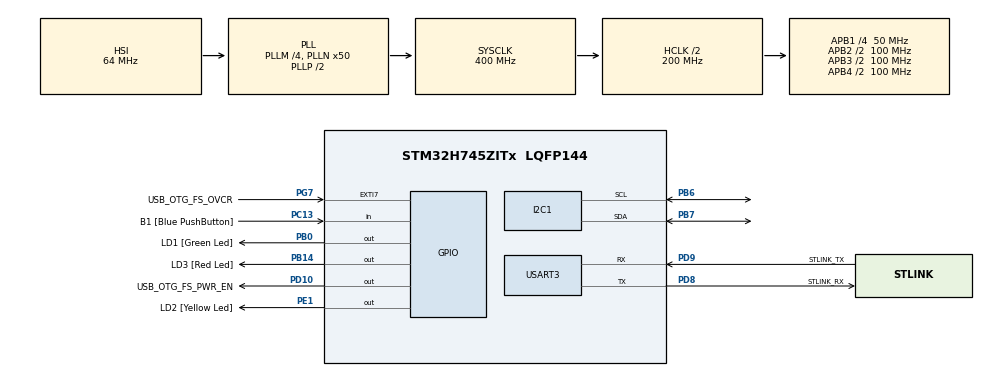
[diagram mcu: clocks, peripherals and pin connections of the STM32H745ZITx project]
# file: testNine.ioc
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CortexM4.IPs=FATFS_M4\:I,FREERTOS_M4\:I,IWDG2\:I,RCC,WWDG2\:I,DMA,BDMA,MDMA,NVIC2\:I,ETH,DEBUG,PDM2PCM_M4\:I,PWR,RESMGR_UTILITY,SYS_M4\:I,USB_DEVICE_M4\:I,USB_HOST_M4\:I,CORTEX_M4\:I,OPENAMP_M4\:I,VREFBUF
CortexM7.IPs=FATFS_M7\:I,FREERTOS_M7\:I,IWDG1\:I,RCC\:I,WWDG1\:I,DMA\:I,BDMA\:I,MDMA\:I,NVIC1\:I,SYS\:I,USART3\:I,USB_OTG_FS\:I,ETH\:I,CORTEX_M7\:I,DEBUG\:I,PDM2PCM_M7\:I,PWR\:I,RESMGR_UTILITY\:I,USB_DEVICE_M7\:I,USB_HOST_M7\:I,OPENAMP_M7\:I,VREFBUF\:I,I2C1\:I,TIM3\:I
I2C1.Timing=0x00C0EAFF
Mcu.Family=STM32H7
Mcu.Name=STM32H745ZITx
Mcu.Package=LQFP144
NVIC1.PriorityGroup=NVIC_PRIORITYGROUP_4
NVIC1.TIM3_IRQn=true\:0\:0\:false\:false\:true\:true\:true
NVIC2.PriorityGroup=NVIC_PRIORITYGROUP_4
PA1.PinAttribute=CortexM7
PA1.Signal=ETH_REF_CLK
PA11.PinAttribute=CortexM7
PA11.Signal=USB_OTG_FS_DM
PA12.PinAttribute=CortexM7
PA12.Signal=USB_OTG_FS_DP
PA2.PinAttribute=CortexM7
PA2.Signal=ETH_MDIO
PA7.PinAttribute=CortexM7
PA7.Signal=ETH_CRS_DV
PA8.PinAttribute=CortexM7
PA8.Signal=USB_OTG_FS_SOF
PA9.PinAttribute=CortexM7
PA9.Signal=USB_OTG_FS_VBUS
PB0.GPIO_Label=LD1 [Green Led]
PB0.PinAttribute=Free
PB0.Signal=GPIO_Output
PB13.PinAttribute=CortexM7
PB13.Signal=ETH_TXD1
PB14.GPIO_Label=LD3 [Red Led]
PB14.PinAttribute=Free
PB14.Signal=GPIO_Output
PB6.GPIO_PuPd=GPIO_PULLUP
PB6.GPIO_Speed=GPIO_SPEED_FREQ_HIGH
PB6.Mode=I2C
PB6.PinAttribute=CortexM7
PB6.Signal=I2C1_SCL
PB7.GPIO_PuPd=GPIO_PULLUP
PB7.GPIO_Speed=GPIO_SPEED_FREQ_HIGH
PB7.Mode=I2C
PB7.PinAttribute=CortexM7
PB7.Signal=I2C1_SDA
PC1.PinAttribute=CortexM7
PC1.Signal=ETH_MDC
PC13.GPIO_Label=B1 [Blue PushButton]
PC13.PinAttribute=Free
PC13.Signal=GPIO_Input
PC14-OSC32_IN\ (OSC32_IN).PinAttribute=CortexM7
PC14-OSC32_IN\ (OSC32_IN).Signal=RCC_OSC32_IN
PC15-OSC32_OUT\ (OSC32_OUT).PinAttribute=CortexM7
PC15-OSC32_OUT\ (OSC32_OUT).Signal=RCC_OSC32_OUT
PC4.PinAttribute=CortexM7
PC4.Signal=ETH_RXD0
PC5.PinAttribute=CortexM7
PC5.Signal=ETH_RXD1
PD10.GPIO_Label=USB_OTG_FS_PWR_EN
PD10.PinAttribute=Free
PD10.Signal=GPIO_Output
PD8.GPIO_Label=STLINK_RX
PD8.Mode=Asynchronous
PD8.PinAttribute=CortexM7
PD8.Signal=USART3_TX
PD9.GPIO_Label=STLINK_TX
PD9.Mode=Asynchronous
PD9.PinAttribute=CortexM7
PD9.Signal=USART3_RX
PE1.GPIO_Label=LD2 [Yellow Led]
PE1.PinAttribute=Free
PE1.Signal=GPIO_Output
PG11.PinAttribute=CortexM7
PG11.Signal=ETH_TX_EN
PG13.PinAttribute=CortexM7
PG13.Signal=ETH_TXD0
PG7.GPIO_Label=USB_OTG_FS_OVCR
PG7.PinAttribute=Free
PG7.Signal=GPXTI7
PH0-OSC_IN\ (PH0).PinAttribute=CortexM7
PH0-OSC_IN\ (PH0).Signal=RCC_OSC_IN
PH1-OSC_OUT\ (PH1).PinAttribute=CortexM7
PH1-OSC_OUT\ (PH1).Signal=RCC_OSC_OUT
ProjectManager.HeapSize=0x200
ProjectManager.StackSize=0x400
ProjectManager.TargetToolchain=STM32CubeIDE
RCC.ADCFreq_Value=129000000
RCC.APB1Freq_Value=50000000
RCC.APB2Freq_Value=100000000
RCC.APB3Freq_Value=100000000
RCC.APB4Freq_Value=100000000
RCC.CortexFreq_Value=400000000
RCC.D1PPRE=RCC_APB3_DIV2
RCC.D2PPRE1=RCC_APB1_DIV4
RCC.D2PPRE2=RCC_APB2_DIV2
RCC.D3PPRE=RCC_APB4_DIV2
RCC.DIVM1=4
RCC.DIVM3=22
RCC.DIVN1=50
RCC.DIVN3=169
RCC.DIVQ3=4
RCC.HCLKFreq_Value=200000000
RCC.HPRE=RCC_HCLK_DIV2
RCC.PLLFRACN=0
RCC.SYSCLKFreq_VALUE=400000000
RCC.SYSCLKSource=RCC_SYSCLKSOURCE_PLLCLK
RCC.SupplySource=PWR_DIRECT_SMPS_SUPPLY
RCC.USBCLockSelection=RCC_USBCLKSOURCE_PLL3
RCC.USBFreq_Value=122909090.9090909
TIM3.Period=1000-1
TIM3.Prescaler=100-1
USART3.VirtualMode-Asynchronous=VM_ASYNC
VP_SYS_M4_VS_Systick.Mode=SysTick
VP_TIM3_VS_ClockSourceINT.Mode=Internal
board=NUCLEO-H745ZI-Q

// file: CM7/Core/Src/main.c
/* USER CODE BEGIN Header */
/**
 ******************************************************************************
 * @file           : main.c
 * @brief          : Main program body
 ******************************************************************************
 * @attention
 *
 * <h2><center>&copy; Copyright (c) 2021 STMicroelectronics.
 * All rights reserved.</center></h2>
 *
 * This software component is licensed by ST under BSD 3-Clause license,
 * the "License"; You may not use this file except in compliance with the
 * License. You may obtain a copy of the License at:
 *                        opensource.org/licenses/BSD-3-Clause
 *
 ******************************************************************************
 */
/* USER CODE END Header */
#include "main.h"
#include <MPU_9255.h>
#include <math.h>

/* USER CODE BEGIN PD */

#ifndef HSEM_ID_0
#define HSEM_ID_0 (0U) /* HW semaphore 0*/
#endif
/* USER CODE END PD */

I2C_HandleTypeDef hi2c1;

TIM_HandleTypeDef htim3;

UART_HandleTypeDef huart3;

/* USER CODE BEGIN PV */
char speech_c[128];
int speech_len;

/* USER CODE END PV */

void SystemClock_Config(void);
static void MX_GPIO_Init(void);
static void MX_I2C1_Init(void);
static void MX_TIM3_Init(void);
static void MX_USART3_UART_Init(void);

/* USER CODE BEGIN 0 */
void MPU_9255_delay(uint32_t ms)
{
    HAL_Delay(ms);
}
uint8_t nmpu1_i2c_read(uint16_t DevAddress, uint8_t *pData, uint16_t size)
{
    return HAL_I2C_Master_Receive(&hi2c1, DevAddress, pData, size, 100);
}
uint8_t nmpu1_i2c_write(uint16_t DevAddress, uint8_t *pData, uint16_t size)
{
    return HAL_I2C_Master_Transmit(&hi2c1, DevAddress, pData, size, 100);
}

/* USER CODE END 0 */

int main(void)
{
    /* USER CODE BEGIN Boot_Mode_Sequence_0 */
    int32_t timeout;
    /* USER CODE END Boot_Mode_Sequence_0 */

    /* USER CODE BEGIN Boot_Mode_Sequence_1 */
    /* Wait until CPU2 boots and enters in stop mode or timeout*/
    timeout = 0xFFFF;
    while ((__HAL_RCC_GET_FLAG(RCC_FLAG_D2CKRDY) != RESET) && (timeout-- > 0))
        ;
    if (timeout < 0) {
        Error_Handler();
    }
    /* USER CODE END Boot_Mode_Sequence_1 */
    /* MCU Configuration--------------------------------------------------------*/

    /* Reset of all peripherals, Initializes the Flash interface and the Systick. */
    HAL_Init();

    /* Configure the system clock */
    SystemClock_Config();
    /* USER CODE BEGIN Boot_Mode_Sequence_2 */
    /* When system initialization is finished, Cortex-M7 will release Cortex-M4 by means of
    HSEM notification */
    /*HW semaphore Clock enable*/
    __HAL_RCC_HSEM_CLK_ENABLE();
    /*Take HSEM */
    HAL_HSEM_FastTake(HSEM_ID_0);
    /*Release HSEM in order to notify the CPU2(CM4)*/
    HAL_HSEM_Release(HSEM_ID_0, 0);
    /* wait until CPU2 wakes up from stop mode */
    timeout = 0xFFFF;
    while ((__HAL_RCC_GET_FLAG(RCC_FLAG_D2CKRDY) == RESET) && (timeout-- > 0))
        ;
    if (timeout < 0) {
        Error_Handler();
    }
    /* USER CODE END Boot_Mode_Sequence_2 */

    /* Initialize all configured peripherals */
    MX_GPIO_Init();
    MX_I2C1_Init();
    MX_TIM3_Init();
    MX_USART3_UART_Init();
    /* USER CODE BEGIN 2 */
    MPU_9255_t *nmpu = MPU_9255_new(MPU9255_ADDRESS_AD0_1, // AD0為0時的i2c地址
                                    SMPLRT_DIV_250Hz, MGT_100HZ, AFS_4G, GFS_250DPS, MFS_16BITS,
                                    nmpu1_i2c_read, //前面自己定義好的i2c寫指令
                                    nmpu1_i2c_write //前面自己定義好的i2c讀指令
    );

    // connecting to MPU
    connecting_MPU_9255(nmpu);

    double ax, ay, az, gx, gy, gz, mx, my, mz; // variables to hold latest sensor data values
    double temperature;

    /* USER CODE END 2 */

    /* Infinite loop */
    while (1) {
        HAL_Delay(1000);
        if (MPU_9255_isDataReady(nmpu)) {                // On interrupt, check if data ready interrupt
            MPU_9255_readAccelData(nmpu, &ax, &ay, &az); // Read the accel x/y/z adc values
            MPU_9255_readGyroData(nmpu, &gx, &gy, &gz);  // Read the gyro x/y/z adc values
            MPU_9255_readMagData(nmpu, &mx, &my, &mz);   // Read the mag x/y/z adc values
            temperature = MPU_9255_readTempData(nmpu);   // Read the adc values

            speech_len =
                sprintf(speech_c, " ax = %f, ay = %f, az = %f  mg\n\r", 1000.0f * ax, 1000.0f * ay, 1000.0f * az);
            HAL_UART_Transmit(&huart3, speech_c, speech_len, HAL_MAX_DELAY);

            speech_len = sprintf(speech_c, " gx = %f, gy = %f, gz = %f  deg/s\n\r", gx, gy, gz);
            HAL_UART_Transmit(&huart3, speech_c, speech_len, HAL_MAX_DELAY);

            speech_len = sprintf(speech_c, " mx = %f, my = %f, mz = %f  mG\n\r", mx, my, mz);
            HAL_UART_Transmit(&huart3, speech_c, speech_len, HAL_MAX_DELAY);

            speech_len = sprintf(speech_c, " temperature = %f  C\n\r\n\r", temperature);
            HAL_UART_Transmit(&huart3, speech_c, speech_len, HAL_MAX_DELAY);
        }

    }
}

void SystemClock_Config(void)
{
    RCC_OscInitTypeDef RCC_OscInitStruct = {0};
    RCC_ClkInitTypeDef RCC_ClkInitStruct = {0};
    RCC_PeriphCLKInitTypeDef PeriphClkInitStruct = {0};

    /** Supply configuration update enable
     */
    HAL_PWREx_ConfigSupply(PWR_DIRECT_SMPS_SUPPLY);
    /** Configure the main internal regulator output voltage
     */
    __HAL_PWR_VOLTAGESCALING_CONFIG(PWR_REGULATOR_VOLTAGE_SCALE1);

    while (!__HAL_PWR_GET_FLAG(PWR_FLAG_VOSRDY)) {
    }
    /** Initializes the RCC Oscillators according to the specified parameters
     * in the RCC_OscInitTypeDef structure.
     */
    RCC_OscInitStruct.OscillatorType = RCC_OSCILLATORTYPE_HSI;
    RCC_OscInitStruct.HSIState = RCC_HSI_DIV1;
    RCC_OscInitStruct.HSICalibrationValue = RCC_HSICALIBRATION_DEFAULT;
    RCC_OscInitStruct.PLL.PLLState = RCC_PLL_ON;
    RCC_OscInitStruct.PLL.PLLSource = RCC_PLLSOURCE_HSI;
    RCC_OscInitStruct.PLL.PLLM = 4;
    RCC_OscInitStruct.PLL.PLLN = 50;
    RCC_OscInitStruct.PLL.PLLP = 2;
    RCC_OscInitStruct.PLL.PLLQ = 2;
    RCC_OscInitStruct.PLL.PLLR = 2;
    RCC_OscInitStruct.PLL.PLLRGE = RCC_PLL1VCIRANGE_3;
    RCC_OscInitStruct.PLL.PLLVCOSEL = RCC_PLL1VCOWIDE;
    RCC_OscInitStruct.PLL.PLLFRACN = 0;
    if (HAL_RCC_OscConfig(&RCC_OscInitStruct) != HAL_OK) {
        Error_Handler();
    }
    /** Initializes the CPU, AHB and APB buses clocks
     */
    RCC_ClkInitStruct.ClockType = RCC_CLOCKTYPE_HCLK | RCC_CLOCKTYPE_SYSCLK | RCC_CLOCKTYPE_PCLK1 |
                                  RCC_CLOCKTYPE_PCLK2 | RCC_CLOCKTYPE_D3PCLK1 | RCC_CLOCKTYPE_D1PCLK1;
    RCC_ClkInitStruct.SYSCLKSource = RCC_SYSCLKSOURCE_PLLCLK;
    RCC_ClkInitStruct.SYSCLKDivider = RCC_SYSCLK_DIV1;
    RCC_ClkInitStruct.AHBCLKDivider = RCC_HCLK_DIV2;
    RCC_ClkInitStruct.APB3CLKDivider = RCC_APB3_DIV2;
    RCC_ClkInitStruct.APB1CLKDivider = RCC_APB1_DIV4;
    RCC_ClkInitStruct.APB2CLKDivider = RCC_APB2_DIV2;
    RCC_ClkInitStruct.APB4CLKDivider = RCC_APB4_DIV2;

    if (HAL_RCC_ClockConfig(&RCC_ClkInitStruct, FLASH_LATENCY_2) != HAL_OK) {
        Error_Handler();
    }
    PeriphClkInitStruct.PeriphClockSelection = RCC_PERIPHCLK_USART3 | RCC_PERIPHCLK_I2C1;
    PeriphClkInitStruct.Usart234578ClockSelection = RCC_USART234578CLKSOURCE_D2PCLK1;
    PeriphClkInitStruct.I2c123ClockSelection = RCC_I2C123CLKSOURCE_D2PCLK1;
    if (HAL_RCCEx_PeriphCLKConfig(&PeriphClkInitStruct) != HAL_OK) {
        Error_Handler();
    }
}

static void MX_I2C1_Init(void)
{

    hi2c1.Instance = I2C1;
    hi2c1.Init.Timing = 0x00C0EAFF;
    hi2c1.Init.OwnAddress1 = 0;
    hi2c1.Init.AddressingMode = I2C_ADDRESSINGMODE_7BIT;
    hi2c1.Init.DualAddressMode = I2C_DUALADDRESS_DISABLE;
    hi2c1.Init.OwnAddress2 = 0;
    hi2c1.Init.OwnAddress2Masks = I2C_OA2_NOMASK;
    hi2c1.Init.GeneralCallMode = I2C_GENERALCALL_DISABLE;
    hi2c1.Init.NoStretchMode = I2C_NOSTRETCH_DISABLE;
    if (HAL_I2C_Init(&hi2c1) != HAL_OK) {
        Error_Handler();
    }
    /** Configure Analogue filter
     */
    if (HAL_I2CEx_ConfigAnalogFilter(&hi2c1, I2C_ANALOGFILTER_ENABLE) != HAL_OK) {
        Error_Handler();
    }
    /** Configure Digital filter
     */
    if (HAL_I2CEx_ConfigDigitalFilter(&hi2c1, 0) != HAL_OK) {
        Error_Handler();
    }
}

static void MX_TIM3_Init(void)
{

    TIM_ClockConfigTypeDef sClockSourceConfig = {0};
    TIM_MasterConfigTypeDef sMasterConfig = {0};

    htim3.Instance = TIM3;
    htim3.Init.Prescaler = 100 - 1;
    htim3.Init.CounterMode = TIM_COUNTERMODE_UP;
    htim3.Init.Period = 1000 - 1;
    htim3.Init.ClockDivision = TIM_CLOCKDIVISION_DIV1;
    htim3.Init.AutoReloadPreload = TIM_AUTORELOAD_PRELOAD_DISABLE;
    if (HAL_TIM_Base_Init(&htim3) != HAL_OK) {
        Error_Handler();
    }
    sClockSourceConfig.ClockSource = TIM_CLOCKSOURCE_INTERNAL;
    if (HAL_TIM_ConfigClockSource(&htim3, &sClockSourceConfig) != HAL_OK) {
        Error_Handler();
    }
    sMasterConfig.MasterOutputTrigger = TIM_TRGO_RESET;
    sMasterConfig.MasterSlaveMode = TIM_MASTERSLAVEMODE_DISABLE;
    if (HAL_TIMEx_MasterConfigSynchronization(&htim3, &sMasterConfig) != HAL_OK) {
        Error_Handler();
    }
}

static void MX_USART3_UART_Init(void)
{

    huart3.Instance = USART3;
    huart3.Init.BaudRate = 115200;
    huart3.Init.WordLength = UART_WORDLENGTH_8B;
    huart3.Init.StopBits = UART_STOPBITS_1;
    huart3.Init.Parity = UART_PARITY_NONE;
    huart3.Init.Mode = UART_MODE_TX_RX;
    huart3.Init.HwFlowCtl = UART_HWCONTROL_NONE;
    huart3.Init.OverSampling = UART_OVERSAMPLING_16;
    huart3.Init.OneBitSampling = UART_ONE_BIT_SAMPLE_DISABLE;
    huart3.Init.ClockPrescaler = UART_PRESCALER_DIV1;
    huart3.AdvancedInit.AdvFeatureInit = UART_ADVFEATURE_NO_INIT;
    if (HAL_UART_Init(&huart3) != HAL_OK) {
        Error_Handler();
    }
    if (HAL_UARTEx_SetTxFifoThreshold(&huart3, UART_TXFIFO_THRESHOLD_1_8) != HAL_OK) {
        Error_Handler();
    }
    if (HAL_UARTEx_SetRxFifoThreshold(&huart3, UART_RXFIFO_THRESHOLD_1_8) != HAL_OK) {
        Error_Handler();
    }
    if (HAL_UARTEx_DisableFifoMode(&huart3) != HAL_OK) {
        Error_Handler();
    }
}

static void MX_GPIO_Init(void)
{
    GPIO_InitTypeDef GPIO_InitStruct = {0};

    /* GPIO Ports Clock Enable */
    __HAL_RCC_GPIOC_CLK_ENABLE();
    __HAL_RCC_GPIOH_CLK_ENABLE();
    __HAL_RCC_GPIOA_CLK_ENABLE();
    __HAL_RCC_GPIOB_CLK_ENABLE();
    __HAL_RCC_GPIOD_CLK_ENABLE();
    __HAL_RCC_GPIOG_CLK_ENABLE();

    /*Configure GPIO pins : PC1 PC4 PC5 */
    GPIO_InitStruct.Pin = GPIO_PIN_1 | GPIO_PIN_4 | GPIO_PIN_5;
    GPIO_InitStruct.Mode = GPIO_MODE_AF_PP;
    GPIO_InitStruct.Pull = GPIO_NOPULL;
    GPIO_InitStruct.Speed = GPIO_SPEED_FREQ_LOW;
    GPIO_InitStruct.Alternate = GPIO_AF11_ETH;
    HAL_GPIO_Init(GPIOC, &GPIO_InitStruct);

    /*Configure GPIO pins : PA1 PA2 PA7 */
    GPIO_InitStruct.Pin = GPIO_PIN_1 | GPIO_PIN_2 | GPIO_PIN_7;
    GPIO_InitStruct.Mode = GPIO_MODE_AF_PP;
    GPIO_InitStruct.Pull = GPIO_NOPULL;
    GPIO_InitStruct.Speed = GPIO_SPEED_FREQ_LOW;
    GPIO_InitStruct.Alternate = GPIO_AF11_ETH;
    HAL_GPIO_Init(GPIOA, &GPIO_InitStruct);

    /*Configure GPIO pin : PB13 */
    GPIO_InitStruct.Pin = GPIO_PIN_13;
    GPIO_InitStruct.Mode = GPIO_MODE_AF_PP;
    GPIO_InitStruct.Pull = GPIO_NOPULL;
    GPIO_InitStruct.Speed = GPIO_SPEED_FREQ_LOW;
    GPIO_InitStruct.Alternate = GPIO_AF11_ETH;
    HAL_GPIO_Init(GPIOB, &GPIO_InitStruct);

    /*Configure GPIO pins : PA8 PA11 PA12 */
    GPIO_InitStruct.Pin = GPIO_PIN_8 | GPIO_PIN_11 | GPIO_PIN_12;
    GPIO_InitStruct.Mode = GPIO_MODE_AF_PP;
    GPIO_InitStruct.Pull = GPIO_NOPULL;
    GPIO_InitStruct.Speed = GPIO_SPEED_FREQ_LOW;
    GPIO_InitStruct.Alternate = GPIO_AF10_OTG1_FS;
    HAL_GPIO_Init(GPIOA, &GPIO_InitStruct);

    /*Configure GPIO pins : PG11 PG13 */
    GPIO_InitStruct.Pin = GPIO_PIN_11 | GPIO_PIN_13;
    GPIO_InitStruct.Mode = GPIO_MODE_AF_PP;
    GPIO_InitStruct.Pull = GPIO_NOPULL;
    GPIO_InitStruct.Speed = GPIO_SPEED_FREQ_LOW;
    GPIO_InitStruct.Alternate = GPIO_AF11_ETH;
    HAL_GPIO_Init(GPIOG, &GPIO_InitStruct);
}

/* USER CODE BEGIN 4 */
void connecting_MPU_9255(MPU_9255_t *nmpu)
{
    // Read WHO_AM_I register for MPU-9255
    while (1) {
        uint8_t who = MPU_9255_whoami(nmpu);

        if (who == 0x73) // WHO_AM_I should always be 0x73
        {
            HAL_UART_Transmit(&huart3, "MPU9255 is online...\\n\r", sizeof("MPU9255 is online...\\n\r") - 1,
                              HAL_MAX_DELAY);
            HAL_Delay(1000);

            MPU_9255_initSensor(nmpu);
            MPU_9255_printInfo(nmpu);
            break;
        }
        else {

            HAL_UART_Transmit(&huart3, "Could not connect to MPU9255: \n\r",
                              sizeof("Could not connect to MPU9255: \n\r") - 1, HAL_MAX_DELAY);

            HAL_Delay(1000);
        }
    }
}

/* USER CODE END 4 */

void Error_Handler(void)
{
    __disable_irq();
    while (1) {
    }
}

/************************ (C) COPYRIGHT STMicroelectronics *****END OF FILE****/
